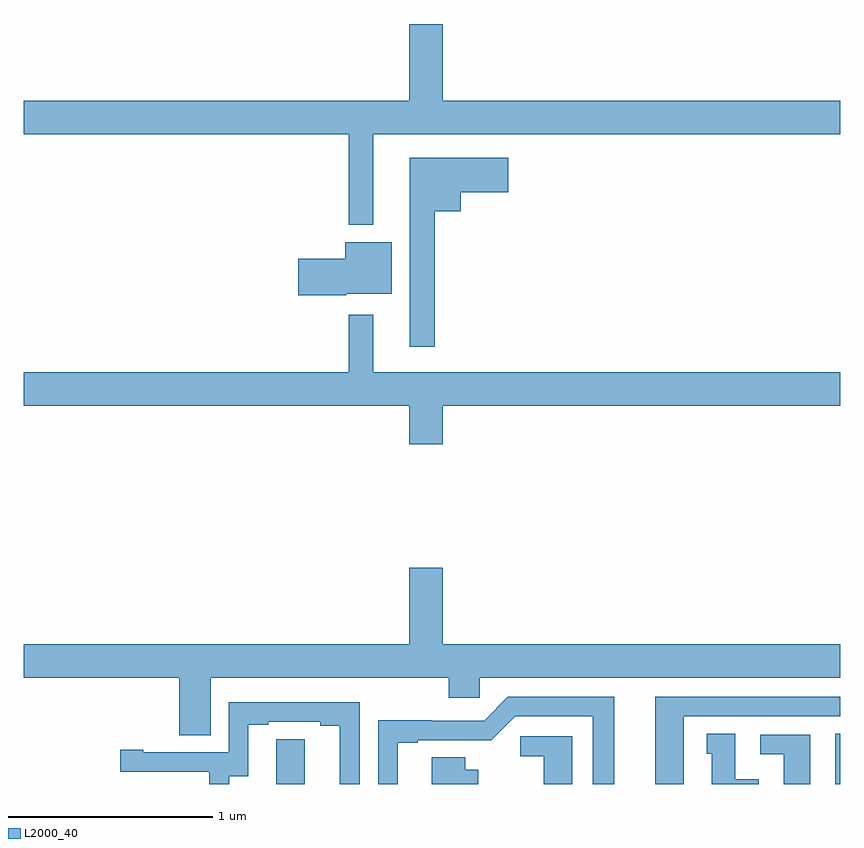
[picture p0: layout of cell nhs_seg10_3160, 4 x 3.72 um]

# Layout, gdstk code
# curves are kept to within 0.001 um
import gdstk
lib = gdstk.Library(unit=1e-6, precision=1e-09)
def R(c, l, rs):  # rectangles x0, y0, x1, y1
    for r in rs: c.add(gdstk.rectangle(r[:2], r[2:], *l))
def P(c, l, *ps):  # polygons
    for p in ps: c.add(gdstk.Polygon(p, *l))
L2000_40 = (2000, 40)

nhs_seg10_3160 = lib.new_cell('nhs_seg10_3160')
R(nhs_seg10_3160, L2000_40, [(286.976,1262.5,287,1262.747)])
P(nhs_seg10_3160, L2000_40, [(284.713,1265.684),(287,1265.684),(287,1265.848),(285.052,1265.848),(285.052,1266.223),(284.888,1266.223),(284.888,1265.848),(283,1265.848),(283,1265.684),(284.592,1265.684),(284.592,1265.24),(284.713,1265.24)],
  [(285.013,1265.306),(285.142,1265.306),(285.142,1265.399),(285.373,1265.399),(285.373,1265.569),(284.891,1265.569),(284.891,1264.641),(285.013,1264.641)],
  [(284.58,1264.901),(284.803,1264.901),(284.803,1265.155),(284.576,1265.155),(284.576,1265.072),(284.346,1265.072),(284.346,1264.894),(284.58,1264.894)],
  [(285.052,1264.352),(287,1264.352),(287,1264.516),(284.713,1264.516),(284.713,1264.798),(284.592,1264.798),(284.592,1264.516),(283,1264.516),(283,1264.352),(284.888,1264.352),(284.888,1264.164),(285.052,1264.164)],
  [(283.915,1263.02),(285.083,1263.02),(285.083,1262.922),(285.234,1262.922),(285.234,1263.02),(287,1263.02),(287,1263.184),(285.052,1263.184),(285.052,1263.559),(284.888,1263.559),(284.888,1263.184),(283,1263.184),(283,1263.02),(283.763,1263.02),(283.763,1262.74),(283.915,1262.74)],
  [(286.234,1262.832),(287,1262.832),(287,1262.928),(286.094,1262.928),(286.094,1262.5),(286.234,1262.5)],
  [(284.833,1262.703),(284.929,1262.703),(284.929,1262.715),(285.29,1262.714),(285.408,1262.832),(285.788,1262.832),(285.788,1262.5),(285.892,1262.5),(285.892,1262.928),(285.372,1262.928),(285.255,1262.811),(284.999,1262.811),(284.999,1262.813),(284.736,1262.813),(284.736,1262.5),(284.833,1262.5)],
  [(284.007,1262.539),(284.101,1262.539),(284.101,1262.79),(284.197,1262.79),(284.197,1262.805),(284.453,1262.805),(284.453,1262.785),(284.549,1262.785),(284.549,1262.5),(284.646,1262.5),(284.646,1262.901),(284.004,1262.901),(284.004,1262.655),(283.585,1262.655),(283.585,1262.668),(283.473,1262.668),(283.473,1262.559),(283.907,1262.559),(283.907,1262.558),(283.908,1262.558),(283.908,1262.5),(284.007,1262.5)],
  [(286.6,1262.524),(286.486,1262.524),(286.486,1262.747),(286.346,1262.747),(286.346,1262.649),(286.37,1262.649),(286.37,1262.5),(286.6,1262.5)],
  [(286.852,1262.742),(286.608,1262.742),(286.608,1262.646),(286.724,1262.646),(286.724,1262.5),(286.852,1262.5)],
  [(285.688,1262.733),(285.432,1262.733),(285.432,1262.636),(285.548,1262.636),(285.548,1262.5),(285.688,1262.5)],
  [(284.377,1262.72),(284.238,1262.72),(284.238,1262.612),(284.237,1262.612),(284.237,1262.5),(284.377,1262.5)],
  [(285.226,1262.569),(285.163,1262.569),(285.163,1262.63),(284.999,1262.63),(284.999,1262.5),(285.226,1262.5)])

lib.write_gds('nhs_seg10_3160.gds')
